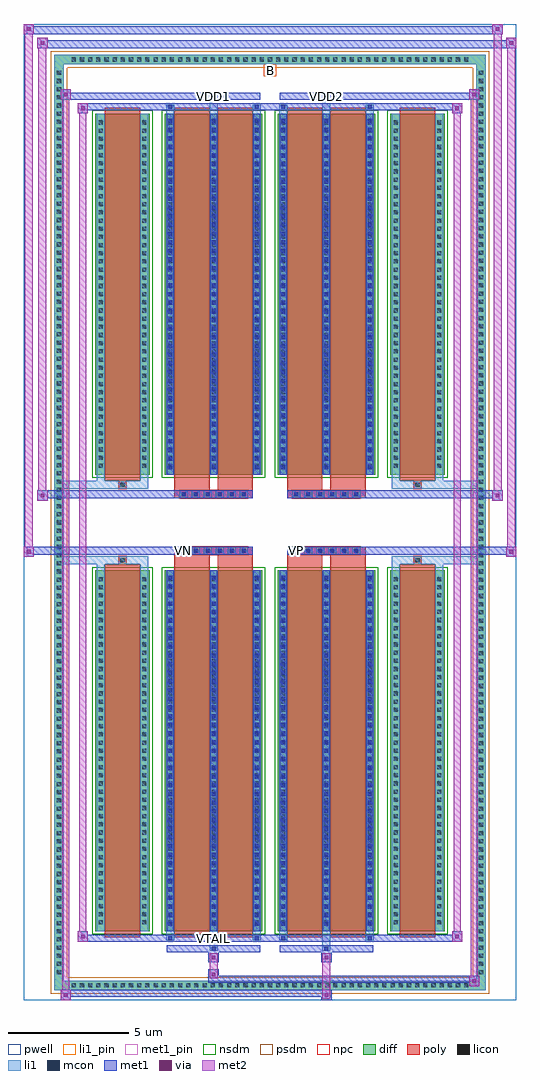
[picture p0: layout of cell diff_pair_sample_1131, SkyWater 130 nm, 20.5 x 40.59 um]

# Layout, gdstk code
import gdstk
lib = gdstk.Library(unit=1e-6, precision=5e-09)
def R(c, l, rs):  # rectangles x0, y0, x1, y1
    for r in rs: c.add(gdstk.rectangle(r[:2], r[2:], *l))
def A(c, l, x, y, w, h, nx, ny, dx, dy):  # array of equal rectangles
    R(c, l, [(x+i*dx, y+j*dy, x+i*dx+w, y+j*dy+h) for i in range(nx) for j in range(ny)])
def P(c, l, *ps):  # polygons
    for p in ps: c.add(gdstk.Polygon(p, *l))
pwell = (64, 44)
diff = (65, 20)
poly = (66, 20)
licon = (66, 44)
li1_pin = (67, 16)
li1 = (67, 20)
mcon = (67, 44)
met1_pin = (68, 16)
met1 = (68, 20)
via = (68, 44)
met2 = (69, 20)
nsdm = (93, 44)
psdm = (94, 20)
npc = (95, 20)

diff_pair_sample_1131 = lib.new_cell('diff_pair_sample_1131')
R(diff_pair_sample_1131, pwell, [(-10.25,-19.86,10.25,20.73), (-7.57,-18.05,-0.01,-0.805), (0.01,-18.05,7.57,-0.805), (-7.57,0.805,-0.01,18.05), (0.01,0.805,7.57,18.05)])
A(diff_pair_sample_1131, diff, -8.365, -19.46, 0.41, 0.41, 49, 2, 0.34, 38.51)
A(diff_pair_sample_1131, diff, -8.98, -18.905, 0.41, 0.41, 1, 111, 0, 0.34)
A(diff_pair_sample_1131, diff, 8.57, -18.905, 0.41, 0.41, 1, 111, 0, 0.34)
R(diff_pair_sample_1131, diff, [(-8.365,-19.46,8.365,-19.05), (-8.98,-18.905,-8.57,18.905), (8.57,-18.905,8.98,18.905), (-7.26,-17.005,-5.01,-1.985), (-4.37,-17.005,-0.32,-1.985), (0.32,-17.005,4.37,-1.985), (5.01,-17.005,7.26,-1.985), (-7.26,1.985,-5.01,17.005), (-4.37,1.985,-0.32,17.005), (0.32,1.985,4.37,17.005), (5.01,1.985,7.26,17.005), (-8.365,19.05,8.365,19.46)])
P(diff_pair_sample_1131, diff, [(8.98,19.46),(-8.98,19.46),(-8.98,-19.05),(-8.57,-19.05),(-8.57,19.05),(8.57,19.05),(8.57,-19.05),(-8.57,-19.05),(-8.98,-19.05),(-8.98,-19.46),(8.98,-19.46)])
A(diff_pair_sample_1131, poly, -3.76, -1.335, 0.33, 0.33, 6, 2, 0.5, 2.34)
A(diff_pair_sample_1131, poly, 0.93, -1.335, 0.33, 0.33, 6, 2, 0.5, 2.34)
R(diff_pair_sample_1131, poly, [(-6.87,-17.255,-5.4,-1.735), (-3.98,-17.255,-2.51,-1.735), (-2.18,-17.255,-0.71,-1.735), (0.71,-17.255,2.18,-1.735), (2.51,-17.255,3.98,-1.735), (5.4,-17.255,6.87,-1.735), (-6.3,-1.735,-5.97,-1.405), (-6.3,-1.735,-5.97,-1.405), (-3.98,-1.735,-2.51,-1.335), (-2.18,-1.735,-0.71,-1.335), (0.71,-1.735,2.18,-1.335), (2.51,-1.735,3.98,-1.335), (5.97,-1.735,6.3,-1.405), (5.97,-1.735,6.3,-1.405), (-3.98,-1.335,-0.71,-1.005), (0.71,-1.335,3.98,-1.005), (-3.98,1.005,-0.71,1.335), (0.71,1.005,3.98,1.335), (-3.98,1.335,-2.51,1.735), (-2.18,1.335,-0.71,1.735), (0.71,1.335,2.18,1.735), (2.51,1.335,3.98,1.735), (-6.3,1.405,-5.97,1.735), (-6.3,1.405,-5.97,1.735), (5.97,1.405,6.3,1.735), (5.97,1.405,6.3,1.735), (-6.87,1.735,-5.4,17.255), (-3.98,1.735,-2.51,17.255), (-2.18,1.735,-0.71,17.255), (0.71,1.735,2.18,17.255), (2.51,1.735,3.98,17.255), (5.4,1.735,6.87,17.255)])
A(diff_pair_sample_1131, licon, -8.245, -19.34, 0.17, 0.17, 49, 2, 0.34, 38.51)
A(diff_pair_sample_1131, licon, -8.86, -18.785, 0.17, 0.17, 1, 111, 0, 0.34)
A(diff_pair_sample_1131, licon, 8.69, -18.785, 0.17, 0.17, 1, 111, 0, 0.34)
A(diff_pair_sample_1131, licon, -7.12, -16.72, 0.17, 0.17, 1, 43, 0, 0.34)
A(diff_pair_sample_1131, licon, -5.32, -16.72, 0.17, 0.17, 1, 43, 0, 0.34)
A(diff_pair_sample_1131, licon, -4.23, -16.72, 0.17, 0.17, 3, 43, 1.8, 0.34)
A(diff_pair_sample_1131, licon, 0.46, -16.72, 0.17, 0.17, 3, 43, 1.8, 0.34)
A(diff_pair_sample_1131, licon, 5.15, -16.72, 0.17, 0.17, 1, 43, 0, 0.34)
A(diff_pair_sample_1131, licon, 6.95, -16.72, 0.17, 0.17, 1, 43, 0, 0.34)
A(diff_pair_sample_1131, licon, -3.68, -1.255, 0.17, 0.17, 6, 2, 0.5, 2.34)
A(diff_pair_sample_1131, licon, 1.01, -1.255, 0.17, 0.17, 6, 2, 0.5, 2.34)
A(diff_pair_sample_1131, licon, -7.12, 2.27, 0.17, 0.17, 1, 43, 0, 0.34)
A(diff_pair_sample_1131, licon, -5.32, 2.27, 0.17, 0.17, 1, 43, 0, 0.34)
A(diff_pair_sample_1131, licon, -4.23, 2.27, 0.17, 0.17, 3, 43, 1.8, 0.34)
A(diff_pair_sample_1131, licon, 0.46, 2.27, 0.17, 0.17, 3, 43, 1.8, 0.34)
A(diff_pair_sample_1131, licon, 5.15, 2.27, 0.17, 0.17, 1, 43, 0, 0.34)
A(diff_pair_sample_1131, licon, 6.95, 2.27, 0.17, 0.17, 1, 43, 0, 0.34)
R(diff_pair_sample_1131, licon, [(-6.22,-1.655,-6.05,-1.485), (6.05,-1.655,6.22,-1.485), (-6.22,1.485,-6.05,1.655), (6.05,1.485,6.22,1.655)])
R(diff_pair_sample_1131, li1_pin, [(-0.25,18.55,0.25,19.05)])
A(diff_pair_sample_1131, li1, -8.325, -19.42, 0.33, 0.33, 49, 2, 0.34, 38.51)
A(diff_pair_sample_1131, li1, -8.94, -18.865, 0.33, 0.33, 1, 111, 0, 0.34)
A(diff_pair_sample_1131, li1, 8.61, -18.865, 0.33, 0.33, 1, 111, 0, 0.34)
A(diff_pair_sample_1131, li1, -4.31, -17.005, 0.33, 15.02, 3, 2, 1.8, 18.99)
A(diff_pair_sample_1131, li1, 0.38, -17.005, 0.33, 15.02, 3, 2, 1.8, 18.99)
A(diff_pair_sample_1131, li1, -7.2, -16.8, 0.33, 0.33, 1, 43, 0, 0.34)
A(diff_pair_sample_1131, li1, -5.4, -16.8, 0.33, 0.33, 1, 43, 0, 0.34)
A(diff_pair_sample_1131, li1, -4.31, -16.8, 0.33, 0.33, 3, 43, 1.8, 0.34)
A(diff_pair_sample_1131, li1, 0.38, -16.8, 0.33, 0.33, 3, 43, 1.8, 0.34)
A(diff_pair_sample_1131, li1, 5.07, -16.8, 0.33, 0.33, 1, 43, 0, 0.34)
A(diff_pair_sample_1131, li1, 6.87, -16.8, 0.33, 0.33, 1, 43, 0, 0.34)
A(diff_pair_sample_1131, li1, -4.23, -16.78, 0.17, 0.17, 3, 41, 1.8, 0.36)
A(diff_pair_sample_1131, li1, -4.23, -16.78, 0.17, 14.57, 3, 2, 1.8, 18.99)
A(diff_pair_sample_1131, li1, 0.46, -16.78, 0.17, 0.17, 3, 41, 1.8, 0.36)
A(diff_pair_sample_1131, li1, 0.46, -16.78, 0.17, 14.57, 3, 2, 1.8, 18.99)
A(diff_pair_sample_1131, li1, -3.76, -1.335, 0.33, 0.33, 6, 2, 0.5, 2.34)
A(diff_pair_sample_1131, li1, 0.93, -1.335, 0.33, 0.33, 6, 2, 0.5, 2.34)
A(diff_pair_sample_1131, li1, -7.2, 2.19, 0.33, 0.33, 1, 43, 0, 0.34)
A(diff_pair_sample_1131, li1, -5.4, 2.19, 0.33, 0.33, 1, 43, 0, 0.34)
A(diff_pair_sample_1131, li1, -4.31, 2.19, 0.33, 0.33, 3, 43, 1.8, 0.34)
A(diff_pair_sample_1131, li1, 0.38, 2.19, 0.33, 0.33, 3, 43, 1.8, 0.34)
A(diff_pair_sample_1131, li1, 5.07, 2.19, 0.33, 0.33, 1, 43, 0, 0.34)
A(diff_pair_sample_1131, li1, 6.87, 2.19, 0.33, 0.33, 1, 43, 0, 0.34)
A(diff_pair_sample_1131, li1, -4.23, 2.21, 0.17, 0.17, 3, 41, 1.8, 0.36)
A(diff_pair_sample_1131, li1, 0.46, 2.21, 0.17, 0.17, 3, 41, 1.8, 0.36)
R(diff_pair_sample_1131, li1, [(-8.98,-19.46,-8.57,-19.05), (-8.98,-19.46,-8.57,-19.05), (-8.57,-19.46,8.57,-19.05), (8.57,-19.46,8.98,-19.05), (8.57,-19.46,8.98,-19.05), (-8.98,-19.05,-8.57,19.05), (8.57,-19.05,8.98,19.05), (-2.51,-17.81,-2.18,-17.005), (-2.43,-17.81,-2.26,-17.64), (2.18,-17.81,2.51,-17.005), (2.26,-17.81,2.43,-17.64), (-4.31,-17.38,-3.98,-17.005), (-4.23,-17.38,-4.06,-17.21), (-0.71,-17.38,-0.38,-17.005), (-0.63,-17.38,-0.46,-17.21), (0.38,-17.38,0.71,-17.005), (0.46,-17.38,0.63,-17.21), (3.98,-17.38,4.31,-17.005), (4.06,-17.38,4.23,-17.21), (-7.2,-17.005,-6.87,-1.985), (-5.4,-17.005,-5.07,-1.985), (5.07,-17.005,5.4,-1.985), (6.87,-17.005,7.2,-1.985), (-7.2,-1.985,-6.87,-1.405), (-5.4,-1.985,-5.07,-1.405), (5.07,-1.985,5.4,-1.405), (6.87,-1.985,7.2,-1.405), (-8.98,-1.735,-6.3,-1.405), (-7.2,-1.735,-6.3,-1.405), (-6.3,-1.735,-5.97,-1.405), (-5.97,-1.735,-5.07,-1.405), (5.07,-1.735,5.97,-1.405), (5.97,-1.735,6.3,-1.405), (5.97,-1.735,8.98,-1.405), (6.3,-1.735,7.2,-1.405), (-8.98,1.405,-6.3,1.735), (-7.2,1.405,-6.3,1.735), (-7.2,1.405,-6.87,1.985), (-6.3,1.405,-5.97,1.735), (-5.97,1.405,-5.07,1.735), (-5.4,1.405,-5.07,1.985), (5.07,1.405,5.97,1.735), (5.07,1.405,5.4,1.985), (5.97,1.405,6.3,1.735), (5.97,1.405,8.98,1.735), (6.3,1.405,7.2,1.735), (6.87,1.405,7.2,1.985), (-7.2,1.985,-6.87,17.005), (-5.4,1.985,-5.07,17.005), (5.07,1.985,5.4,17.005), (6.87,1.985,7.2,17.005), (-4.31,17.005,-3.98,17.38), (-2.51,17.005,-2.18,17.81), (-0.71,17.005,-0.38,17.38), (0.38,17.005,0.71,17.38), (2.18,17.005,2.51,17.81), (3.98,17.005,4.31,17.38), (-4.23,17.21,-4.06,17.38), (-0.63,17.21,-0.46,17.38), (0.46,17.21,0.63,17.38), (4.06,17.21,4.23,17.38), (-2.43,17.64,-2.26,17.81), (2.26,17.64,2.43,17.81), (-8.98,19.05,-8.57,19.46), (-8.98,19.05,-8.57,19.46), (-8.57,19.05,8.57,19.46), (8.57,19.05,8.98,19.46), (8.57,19.05,8.98,19.46)])
A(diff_pair_sample_1131, mcon, -4.23, -16.78, 0.17, 0.17, 3, 41, 1.8, 0.36)
A(diff_pair_sample_1131, mcon, 0.46, -16.78, 0.17, 0.17, 3, 41, 1.8, 0.36)
A(diff_pair_sample_1131, mcon, -3.68, -1.255, 0.17, 0.17, 6, 2, 0.5, 2.34)
A(diff_pair_sample_1131, mcon, 1.01, -1.255, 0.17, 0.17, 6, 2, 0.5, 2.34)
A(diff_pair_sample_1131, mcon, -4.23, 2.21, 0.17, 0.17, 3, 41, 1.8, 0.36)
A(diff_pair_sample_1131, mcon, 0.46, 2.21, 0.17, 0.17, 3, 41, 1.8, 0.36)
R(diff_pair_sample_1131, mcon, [(-2.43,-17.81,-2.26,-17.64), (2.26,-17.81,2.43,-17.64), (-4.23,-17.38,-4.06,-17.21), (-0.63,-17.38,-0.46,-17.21), (0.46,-17.38,0.63,-17.21), (4.06,-17.38,4.23,-17.21), (-4.23,17.21,-4.06,17.38), (-0.63,17.21,-0.46,17.38), (0.46,17.21,0.63,17.38), (4.06,17.21,4.23,17.38), (-2.43,17.64,-2.26,17.81), (2.26,17.64,2.43,17.81)])
R(diff_pair_sample_1131, met1_pin, [(-2.48,-17.42,-2.21,-17.15), (-3.73,-1.295,-3.46,-1.025), (0.96,-1.295,1.23,-1.025), (-2.48,17.6,-2.21,17.87), (2.21,17.6,2.48,17.87)])
A(diff_pair_sample_1131, met1, -4.29, -17.005, 0.29, 15.02, 3, 2, 1.8, 18.99)
A(diff_pair_sample_1131, met1, 0.4, -17.005, 0.29, 15.02, 3, 2, 1.8, 18.99)
A(diff_pair_sample_1131, met1, -4.29, -16.84, 0.29, 0.29, 3, 41, 1.8, 0.36)
A(diff_pair_sample_1131, met1, 0.4, -16.84, 0.29, 0.29, 3, 41, 1.8, 0.36)
A(diff_pair_sample_1131, met1, -3.74, -1.315, 0.29, 0.29, 6, 2, 0.5, 2.34)
A(diff_pair_sample_1131, met1, 0.95, -1.315, 0.29, 0.29, 6, 2, 0.5, 2.34)
A(diff_pair_sample_1131, met1, -4.29, 2.15, 0.29, 0.29, 3, 41, 1.8, 0.36)
A(diff_pair_sample_1131, met1, 0.4, 2.15, 0.29, 0.29, 3, 41, 1.8, 0.36)
R(diff_pair_sample_1131, met1, [(-8.71,-19.86,-8.28,-19.43), (2.13,-19.86,2.56,-19.43), (-8.71,-19.72,2.56,-19.43), (8.28,-19.29,8.71,-18.86), (-2.56,-19.15,8.71,-18.86), (-2.56,-19.01,-2.13,-18.58), (-2.56,-18.3,-2.13,-17.87), (2.13,-18.3,2.56,-17.87), (-4.29,-17.87,-0.4,-17.58), (-2.49,-17.87,-2.2,-17.58), (0.4,-17.87,4.29,-17.58), (2.2,-17.87,2.49,-17.58), (-8,-17.44,-7.57,-17.01), (-8,-17.44,-4.29,-17.15), (-4.29,-17.44,-4,-17.15), (-4.29,-17.44,-0.4,-17.15), (-0.69,-17.44,-0.4,-17.15), (-0.4,-17.44,0.4,-17.15), (0.4,-17.44,0.69,-17.15), (0.4,-17.44,4.29,-17.15), (4,-17.44,4.29,-17.15), (4.29,-17.44,8,-17.15), (7.57,-17.44,8,-17.01), (-10.25,-1.435,-9.82,-1.005), (9.82,-1.435,10.25,-1.005), (-10.25,-1.335,-0.71,-1.005), (-3.98,-1.335,-0.71,-1.005), (0.71,-1.335,3.98,-1.005), (0.71,-1.335,10.25,-1.005), (-9.68,0.905,-9.25,1.335), (9.25,0.905,9.68,1.335), (-9.68,1.005,-3.98,1.335), (-3.98,1.005,-0.71,1.335), (0.71,1.005,3.98,1.335), (3.98,1.005,9.68,1.335), (-8,17.01,-7.57,17.44), (7.57,17.01,8,17.44), (-8,17.15,-4.29,17.44), (-4.29,17.15,-4,17.44), (-4.29,17.15,-0.4,17.44), (-0.69,17.15,-0.4,17.44), (-0.4,17.15,0.4,17.44), (0.4,17.15,0.69,17.44), (0.4,17.15,4.29,17.44), (4,17.15,4.29,17.44), (4.29,17.15,8,17.44), (-8.71,17.58,-8.28,18.01), (-8.71,17.58,-4.29,17.87), (-4.29,17.58,-0.4,17.87), (-2.49,17.58,-2.2,17.87), (0.4,17.58,4.29,17.87), (2.2,17.58,2.49,17.87), (4.29,17.58,8.71,17.87), (8.28,17.58,8.71,18.01), (-9.68,19.73,-9.25,20.16), (-9.68,19.73,-7.57,20.06), (-7.57,19.73,7.57,20.06), (7.57,19.73,10.25,20.06), (9.82,19.73,10.25,20.16), (-10.25,20.3,-9.82,20.73), (-10.25,20.3,-7.57,20.63), (-7.57,20.3,7.57,20.63), (7.57,20.3,9.68,20.63), (9.25,20.3,9.68,20.73)])
R(diff_pair_sample_1131, via, [(-8.57,-19.72,-8.42,-19.57), (2.27,-19.72,2.42,-19.57), (8.42,-19.15,8.57,-19), (-2.42,-18.87,-2.27,-18.72), (-2.42,-18.16,-2.27,-18.01), (2.27,-18.16,2.42,-18.01), (-7.86,-17.3,-7.71,-17.15), (7.71,-17.3,7.86,-17.15), (-10.11,-1.295,-9.96,-1.145), (9.96,-1.295,10.11,-1.145), (-9.54,1.045,-9.39,1.195), (9.39,1.045,9.54,1.195), (-7.86,17.15,-7.71,17.3), (7.71,17.15,7.86,17.3), (-8.57,17.72,-8.42,17.87), (8.42,17.72,8.57,17.87), (-9.54,19.87,-9.39,20.02), (9.96,19.87,10.11,20.02), (-10.11,20.44,-9.96,20.59), (9.39,20.44,9.54,20.59)])
R(diff_pair_sample_1131, met2, [(-8.71,-19.86,-8.28,-19.43), (-8.64,-19.86,-8.35,18.01), (-8.35,-19.86,-8.28,-19.43), (-8.66,-19.81,-8.33,-19.48), (2.18,-19.81,2.51,-19.48), (2.18,-19.48,2.51,-18.25), (8.28,-19.29,8.71,-18.86), (8.35,-19.29,8.64,18.01), (8.64,-19.29,8.71,-18.86), (8.33,-19.24,8.66,-18.91), (-2.51,-18.96,-2.18,-18.63), (-2.51,-18.63,-2.18,-18.25), (-2.51,-18.25,-2.18,-17.92), (2.18,-18.25,2.51,-17.92), (-8,-17.44,-7.57,-17.01), (-7.93,-17.44,-7.64,17.44), (-7.64,-17.44,-7.57,-17.01), (7.57,-17.44,8,-17.01), (7.64,-17.44,7.93,17.44), (7.93,-17.44,8,-17.01), (-7.95,-17.39,-7.62,-17.06), (7.62,-17.39,7.95,-17.06), (-10.25,-1.435,-9.82,-1.005), (-10.2,-1.435,-9.87,20.73), (-9.87,-1.435,-9.82,-1.005), (9.82,-1.435,10.25,-1.005), (9.87,-1.435,10.2,20.16), (10.2,-1.435,10.25,-1.005), (-10.2,-1.385,-9.87,-1.055), (9.87,-1.385,10.2,-1.055), (-9.68,0.905,-9.25,1.335), (-9.63,0.905,-9.3,20.16), (-9.3,0.905,-9.25,1.335), (9.25,0.905,9.68,1.335), (9.3,0.905,9.63,20.73), (9.63,0.905,9.68,1.335), (-9.63,0.955,-9.3,1.285), (9.3,0.955,9.63,1.285), (-8,17.01,-7.57,17.44), (-7.64,17.01,-7.57,17.44), (7.57,17.01,8,17.44), (7.93,17.01,8,17.44), (-7.95,17.06,-7.62,17.39), (7.62,17.06,7.95,17.39), (-8.71,17.58,-8.28,18.01), (-8.35,17.58,-8.28,18.01), (8.28,17.58,8.71,18.01), (8.64,17.58,8.71,18.01), (-8.66,17.63,-8.33,17.96), (8.33,17.63,8.66,17.96), (-9.68,19.73,-9.25,20.16), (-9.3,19.73,-9.25,20.16), (9.82,19.73,10.25,20.16), (10.2,19.73,10.25,20.16), (-9.63,19.78,-9.3,20.11), (9.87,19.78,10.2,20.11), (-10.25,20.3,-9.82,20.73), (-9.87,20.3,-9.82,20.73), (9.25,20.3,9.68,20.73), (9.63,20.3,9.68,20.73), (-10.2,20.35,-9.87,20.68), (9.3,20.35,9.63,20.68)])
R(diff_pair_sample_1131, nsdm, [(-7.39,-17.135,-4.88,-1.855), (-4.5,-17.135,-0.19,-1.855), (0.19,-17.135,4.5,-1.855), (4.88,-17.135,7.39,-1.855), (-7.39,1.855,-4.88,17.135), (-4.5,1.855,-0.19,17.135), (0.19,1.855,4.5,17.135), (4.88,1.855,7.39,17.135)])
P(diff_pair_sample_1131, psdm, [(9.11,19.59),(-9.11,19.59),(-9.11,-18.92),(-8.44,-18.92),(-8.44,18.92),(8.44,18.92),(8.44,-18.92),(-8.44,-18.92),(-9.11,-18.92),(-9.11,-19.59),(9.11,-19.59)])
A(diff_pair_sample_1131, npc, -3.78, -1.355, 0.37, 0.37, 6, 2, 0.5, 2.34)
A(diff_pair_sample_1131, npc, 0.91, -1.355, 0.37, 0.37, 6, 2, 0.5, 2.34)
R(diff_pair_sample_1131, npc, [(-6.32,-1.755,-5.95,-1.385), (5.95,-1.755,6.32,-1.385), (-3.78,-1.355,-2.91,-0.985), (-3.78,-1.355,-2.91,-0.985), (-3.28,-1.355,-2.41,-0.985), (-3.28,-1.355,-2.41,-0.985), (-2.78,-1.355,-1.91,-0.985), (-2.78,-1.355,-1.91,-0.985), (-2.28,-1.355,-1.41,-0.985), (-2.28,-1.355,-1.41,-0.985), (-1.78,-1.355,-0.91,-0.985), (-1.78,-1.355,-0.91,-0.985), (0.91,-1.355,1.78,-0.985), (0.91,-1.355,1.78,-0.985), (1.41,-1.355,2.28,-0.985), (1.41,-1.355,2.28,-0.985), (1.91,-1.355,2.78,-0.985), (1.91,-1.355,2.78,-0.985), (2.41,-1.355,3.28,-0.985), (2.41,-1.355,3.28,-0.985), (2.91,-1.355,3.78,-0.985), (2.91,-1.355,3.78,-0.985), (-3.78,0.985,-2.91,1.355), (-3.78,0.985,-2.91,1.355), (-3.28,0.985,-2.41,1.355), (-3.28,0.985,-2.41,1.355), (-2.78,0.985,-1.91,1.355), (-2.78,0.985,-1.91,1.355), (-2.28,0.985,-1.41,1.355), (-2.28,0.985,-1.41,1.355), (-1.78,0.985,-0.91,1.355), (-1.78,0.985,-0.91,1.355), (0.91,0.985,1.78,1.355), (0.91,0.985,1.78,1.355), (1.41,0.985,2.28,1.355), (1.41,0.985,2.28,1.355), (1.91,0.985,2.78,1.355), (1.91,0.985,2.78,1.355), (2.41,0.985,3.28,1.355), (2.41,0.985,3.28,1.355), (2.91,0.985,3.78,1.355), (2.91,0.985,3.78,1.355), (-6.32,1.385,-5.95,1.755), (5.95,1.385,6.32,1.755)])
diff_pair_sample_1131.add(gdstk.Label('VTAIL', (-2.345,-17.285), layer=68, texttype=5))
diff_pair_sample_1131.add(gdstk.Label('VN', (-3.595,-1.16), layer=68, texttype=5))
diff_pair_sample_1131.add(gdstk.Label('VP', (1.095,-1.16), layer=68, texttype=5))
diff_pair_sample_1131.add(gdstk.Label('B', (0,18.8), layer=67, texttype=5))
diff_pair_sample_1131.add(gdstk.Label('VDD2', (2.345,17.735), layer=68, texttype=5))
diff_pair_sample_1131.add(gdstk.Label('VDD1', (-2.345,17.735), layer=68, texttype=5))

lib.write_gds('diff_pair_sample_1131.gds')
